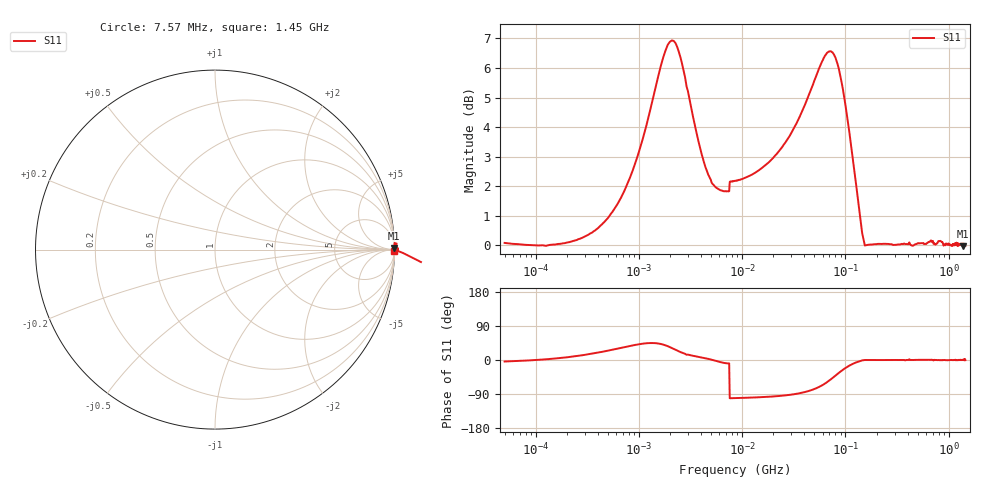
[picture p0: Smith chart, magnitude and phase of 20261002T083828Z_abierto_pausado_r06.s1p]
! piloto_saltos / abierto_pausado / r06
# HZ S RI R 50
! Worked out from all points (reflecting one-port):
!   501 points, 50 kHz to 1.45 GHz, reference 50 ohm
!   lowest |S11| = 0.0 dB at 1.365 GHz (marker M1), VSWR 690.06, Z = 3.7e+03 + j1.07e+04 ohm
!   phase of S11 starts at -4 deg and turns +4 deg over the sweep
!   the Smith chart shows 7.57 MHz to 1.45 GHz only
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50000  1.007 -0.0709
183000  1.003 0.1047
373000  1.007 0.3266
658000  1.021 0.6269
1180000  1.144 1.111
1630000  1.489 1.354
1990000  1.828 1.239
2440000  1.959 0.8147
2890000  1.804 0.4435
3430000  1.587 0.2953
4870000  1.298 0.0432
7300000  1.22 -0.1922
7750000  -0.2425 -1.26
8560000  -0.236 -1.264
1.81e7  -0.1684 -1.372
3.16e7  -0.011 -1.577
4.69e7  0.339 -1.813
6.49e7  1.042 -1.828
7.39e7  1.399 -1.596
8.65e7  1.651 -1.1
9.82e7  1.628 -0.6734
1e8  1.611 -0.6198
1.18e8  1.377 -0.2433
1.36e8  1.147 -0.0692
1.63e8  1.002 -0.000802
4.06e8  1.005 0.00261
1.3645e9  0.9971 0.00834
1.45e9  0.9985 -0.00748
